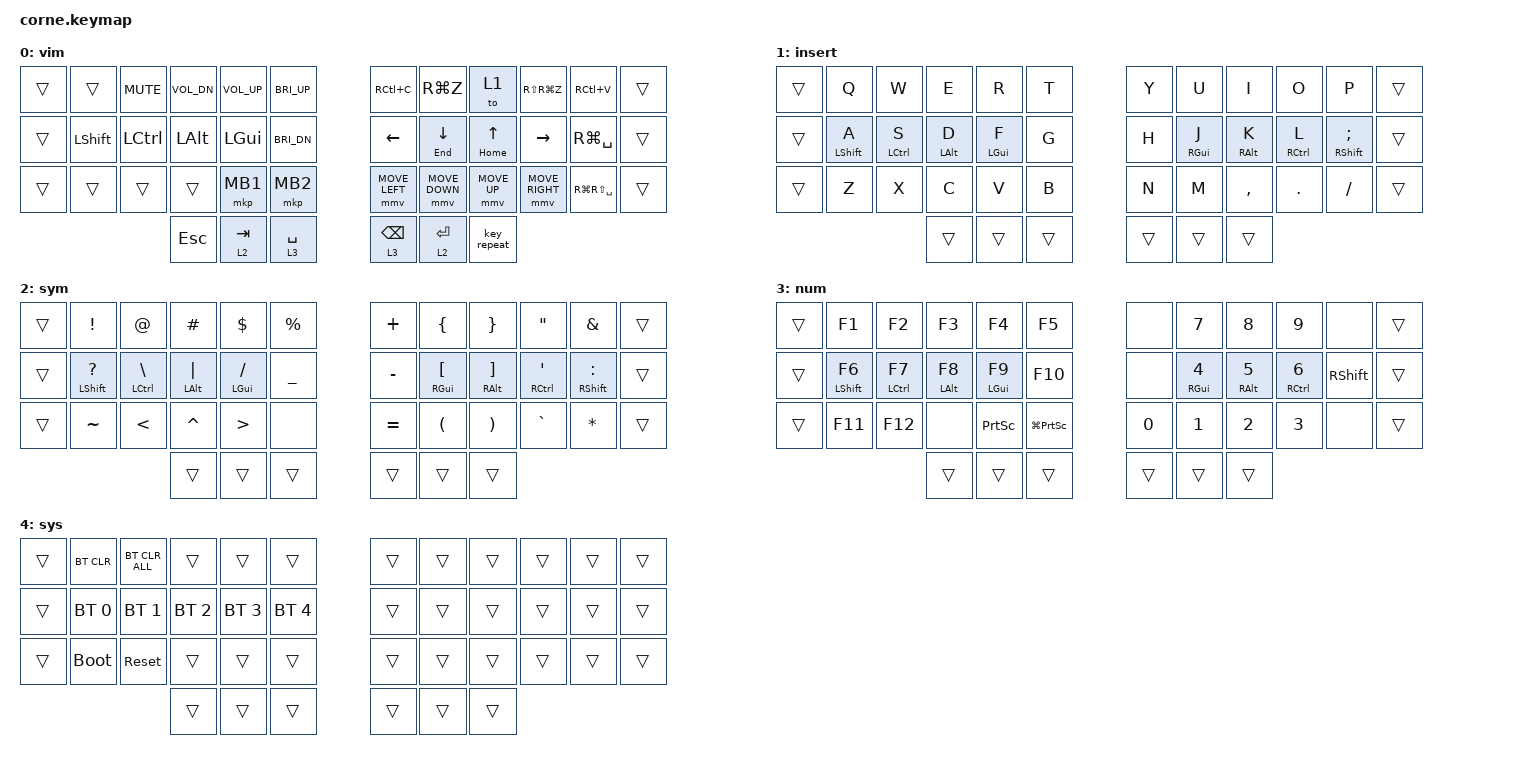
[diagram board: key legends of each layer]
/*
 * Copyright (c) 2020 The ZMK Contributors
 *
 * SPDX-License-Identifier: MIT
 */

#include <behaviors.dtsi>
#include <dt-bindings/zmk/bt.h>
#include <dt-bindings/zmk/keys.h>
#include <dt-bindings/zmk/pointing.h>
#include <dt-bindings/zmk/pointing.h>

&mt {
    tapping-term-ms = <400>;
    quick-tap-ms = <175>;
    require-prior-idle-ms = <150>;
    flavor = "balanced";
};

&lt { tapping-term-ms = <400>; };

/ {
    behaviors {
        hml: hml {
            compatible = "zmk,behavior-hold-tap";
            label = "HML";
            bindings = <&kp>, <&kp>;

            #binding-cells = <2>;
            tapping-term-ms = <280>;
            quick-tap-ms = <150>;
            global-quick-tap;
            flavor = "balanced";
            hold-trigger-key-positions = <36 37 38 39 40 41 30 18 6 7 31 19 8 20 32 33 21 9 10 22 35 34 23 11>;
            hold-trigger-on-release;
        };

        hmr: hmr {
            compatible = "zmk,behavior-hold-tap";
            label = "HMR";
            bindings = <&kp>, <&kp>;

            #binding-cells = <2>;
            tapping-term-ms = <280>;
            quick-tap-ms = <175>;
            global-quick-tap;
            flavor = "balanced";
            hold-trigger-key-positions = <41 40 39 0 1 2 3 4 5 12 13 14 15 16 17 24 25 26 27 28 29 36 37 38>;
            hold-trigger-on-release;
        };
    };

    combos {
        compatible = "zmk,combos";

        to_vim {
            timeout-ms = <50>;
            key-positions = <13 14>;
            bindings = <&to 0>;
            layers = <1>;
        };
    };

    conditional_layers {
        compatible = "zmk,conditional-layers";

        to_system {
            if-layers = <2 3>;
            then-layer = <4>;
        };
    };

    keymap {
        compatible = "zmk,keymap";

        vim {
            bindings = <
&trans  &trans     &kp K_MUTE  &kp C_VOL_DN  &kp C_VOL_UP  &kp C_BRI_UP    &kp RC(C)       &kp RG(Z)       &to 1         &kp RS(RG(Z))    &kp RC(V)          &trans
&trans  &kp LSHFT  &kp LCTRL   &kp LALT      &kp LGUI      &kp C_BRI_DN    &kp LEFT        &mt END DOWN    &mt HOME UP   &kp RIGHT        &kp RG(SPACE)      &trans
&trans  &trans     &trans      &trans        &mkp MB1      &mkp MB2        &mmv MOVE_LEFT  &mmv MOVE_DOWN  &mmv MOVE_UP  &mmv MOVE_RIGHT  &kp RG(RS(SPACE))  &trans
                               &kp ESCAPE    &lt 2 TAB     &lt 3 SPACE     &lt 3 BSPC      &lt 2 RET       &key_repeat
            >;
        };

        insert {
            bindings = <
&trans  &kp Q              &kp W         &kp E            &kp R        &kp T     &kp Y   &kp U        &kp I             &kp O         &kp P                  &trans
&trans  &hml LEFT_SHIFT A  &hml LCTRL S  &hml LEFT_ALT D  &hml LGUI F  &kp G     &kp H   &hmr RGUI J  &hmr RIGHT_ALT K  &hmr RCTRL L  &hmr RIGHT_SHIFT SEMI  &trans
&trans  &kp Z              &kp X         &kp C            &kp V        &kp B     &kp N   &kp M        &kp COMMA         &kp DOT       &kp FSLH               &trans
                                         &trans           &trans       &trans    &trans  &trans       &trans
            >;
        };

        sym {
            bindings = <
&trans  &kp EXCL                  &kp AT                &kp POUND       &kp DOLLAR      &kp PERCENT    &kp PLUS   &kp LBRC             &kp RBRC             &kp DQT         &kp AMPERSAND      &trans
&trans  &hml LEFT_SHIFT QUESTION  &hml LCTRL BACKSLASH  &hml LALT PIPE  &hml LGUI FSLH  &kp UNDER      &kp MINUS  &hmr RIGHT_GUI LBKT  &hmr RIGHT_ALT RBKT  &hmr RCTRL SQT  &hmr RSHIFT COLON  &trans
&trans  &kp TILDE                 &kp LT                &kp CARET       &kp GT          &none          &kp EQUAL  &kp LPAR             &kp RPAR             &kp GRAVE       &kp ASTERISK       &trans
                                                        &trans          &trans          &trans         &trans     &trans               &trans
            >;
        };

        num {
            bindings = <
&trans  &kp F1         &kp F2         &kp F3        &kp F4        &kp F5           &none   &kp N7                   &kp N8             &kp N9               &none            &trans
&trans  &hml LSHFT F6  &hml LCTRL F7  &hml LALT F8  &hml LGUI F9  &kp F10          &none   &hmr RIGHT_GUI NUMBER_4  &hmr RIGHT_ALT N5  &hmr RCTRL NUMBER_6  &kp RIGHT_SHIFT  &trans
&trans  &kp F11        &kp F12        &none         &kp PSCRN     &kp LG(PSCRN)    &kp N0  &kp NUMBER_1             &kp NUMBER_2       &kp NUMBER_3         &none            &trans
                                      &trans        &trans        &trans           &trans  &trans                   &trans
            >;
        };

        sys {
            bindings = <
&trans  &bt BT_CLR    &bt BT_CLR_ALL  &trans        &trans        &trans          &trans  &trans  &trans  &trans  &trans  &trans
&trans  &bt BT_SEL 0  &bt BT_SEL 1    &bt BT_SEL 2  &bt BT_SEL 3  &bt BT_SEL 4    &trans  &trans  &trans  &trans  &trans  &trans
&trans  &bootloader   &sys_reset      &trans        &trans        &trans          &trans  &trans  &trans  &trans  &trans  &trans
                                      &trans        &trans        &trans          &trans  &trans  &trans
            >;
        };
    };
};
